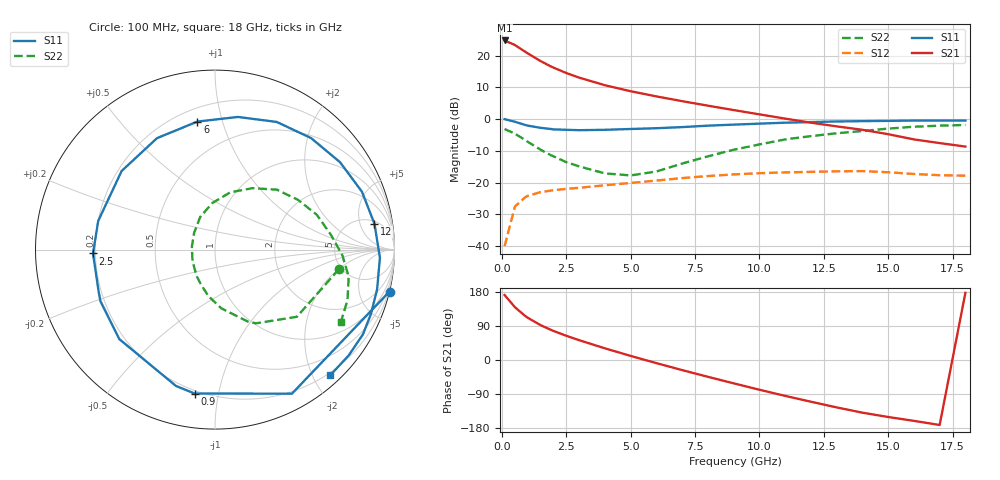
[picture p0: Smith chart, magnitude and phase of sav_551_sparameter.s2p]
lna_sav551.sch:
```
<QucsStudio Schematic 5.8>
<Properties>
View=-72.8346,-473.259,1170.8,1061.34,0.734695,0,205
Grid=10,10,1
DataSet=*.dat
DataDisplay=*.dpl
OpenDisplay=1
showFrame=0
FrameText0=Titel \n @PATH@@FILE@
FrameText1=Gezeichnet von:
FrameText2=Datum: @DATE@
FrameText3=Revision:
</Properties>
<Symbol>
</Symbol>
<Components>
Pac P1 1 130 360 18 -26 0 "1"1"50"1"0 dBm"0"1 GHz"0"26.85"0"con_2"0
GND * 1 130 440 0 0 0
Pac P3 1 930 370 18 -26 0 "2"1"50"1"0"0"1 GHz"0"26.85"0"con_2"0
SPfile X1 1 490 290 -83 -160 0 "sav_551_sparameter.s2p"1"2"0"polar"0"linear"0"open"0"none"0"block"0"SOT23"0
C C1 1 230 290 -34 -60 0 "15 pF"1"0"0""0"neutral"0"SMD0603"0
L L1 1 410 360 10 -26 1 "51 nH"1"0"0""0"inductor_1mH"0
.SP SP1 1 370 570 11 12 0 "log"1"100MHz"1"300MHz"1"500"1"no"0"1"0"2"0"none"0
L L5 1 550 240 10 -26 1 "1 nH"1"0"0""0"inductor_1mH"0
L L3 1 590 360 10 -19 1 "1 uH"1"0"0""0"inductor_1mH"0
C C3 1 670 290 -28 -47 0 "470 pF"1"0"0""0"neutral"0"SMD0603"0
L L6 1 760 360 10 -26 1 "82 nH"1"0"0""0"inductor_1mH"0
L L2 1 330 360 10 -26 1 "1 uH"1"1"0""0"inductor_1mH"0
R R1 1 490 200 -26 15 0 "1000 Ω"1"26.85"0"european"0"SMD0603"0
C C4 1 430 240 -90 -21 3 "100 pF"1"0"0""0"neutral"0"SMD0603"0
</Components>
<Wires>
930 400 930 430
130 390 130 430
130 430 130 440
490 320 490 430
930 290 930 340
590 290 590 330
490 430 590 430
590 390 590 430
130 290 130 330
130 290 200 290
410 290 410 330
410 430 490 430
410 390 410 430
520 290 550 290
410 290 430 290
550 290 590 290
550 270 550 290
590 290 640 290
700 290 760 290
760 290 930 290
760 290 760 330
590 430 760 430
760 430 930 430
760 390 760 430
260 290 330 290
130 430 330 430
330 430 410 430
330 390 330 430
550 200 550 210
520 200 550 200
430 200 460 200
430 200 430 210
430 290 460 290
430 270 430 290
330 290 410 290
330 290 330 330
</Wires>
<Diagrams>
</Diagrams>
<Paintings>
</Paintings>
```
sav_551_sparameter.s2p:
# GHZ S MA R 50
! Frequency(GHz) S11(mag,deg) S21(mag,deg) S12(mag,deg) S22(mag,deg)
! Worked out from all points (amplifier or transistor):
!   24 points, 100 MHz to 18 GHz, reference 50 ohm
!   highest |S21| = 24.8 dB at 100 MHz (marker M1)
!   |S21| within 3 dB of that: start of sweep to 795.1 MHz
!   unconditionally stable (mu >= 1): 4.65 GHz to 10.4 GHz
!   at 1.5 GHz: K = 0.43, MSG = 20.6 dB, |S12| = -23.0 dB
!   at 7 GHz: K = 1.11, MAG = 10.1 dB, |S12| = -18.6 dB
!   at 18 GHz: K = 0.81, MSG = 4.6 dB, |S12| = -17.8 dB
!   S11 on the Smith chart (normalised r, x): 100 MHz: 0.00, -8.45; 900 MHz: 0.18, -0.85; 2.5 GHz: 0.19, -0.02; 6 GHz: 0.28, +0.83; 12 GHz: 6, +9; 18 GHz: 0.16, -2.26
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0.1  1 -13.5  17.35 171.5  0.01 81.4  0.7 -8.9
0.5  0.91 -61.9  14.71 139.3  0.042 56.8  0.59 -39.4
0.9  0.81 -98.1  11.52 116.2  0.059 40.4  0.47 -60.9
1.5  0.73 -136.9  8.2 91.9  0.071 25.5  0.33 -83.7
1.9  0.7 -155.7  6.76 79.5  0.075 19.3  0.27 -95.6
2.5  0.68 -178.2  5.32 63.8  0.08 12.7  0.21 -111.6
4  0.68 139.9  3.42 30.7  0.091 1.0  0.14 -153.6
6  0.72 97.8  2.28 -8.3  0.108 -13.5  0.15 140.6
10  0.85 34.9  1.19 -78.5  0.141 -52.1  0.4 58.8
12  0.9 9.2  0.88 -110.1  0.148 -74.3  0.54 30.8
18  0.95 -47.5  0.37 177.3  0.129 -130.7  0.81 -30.1
